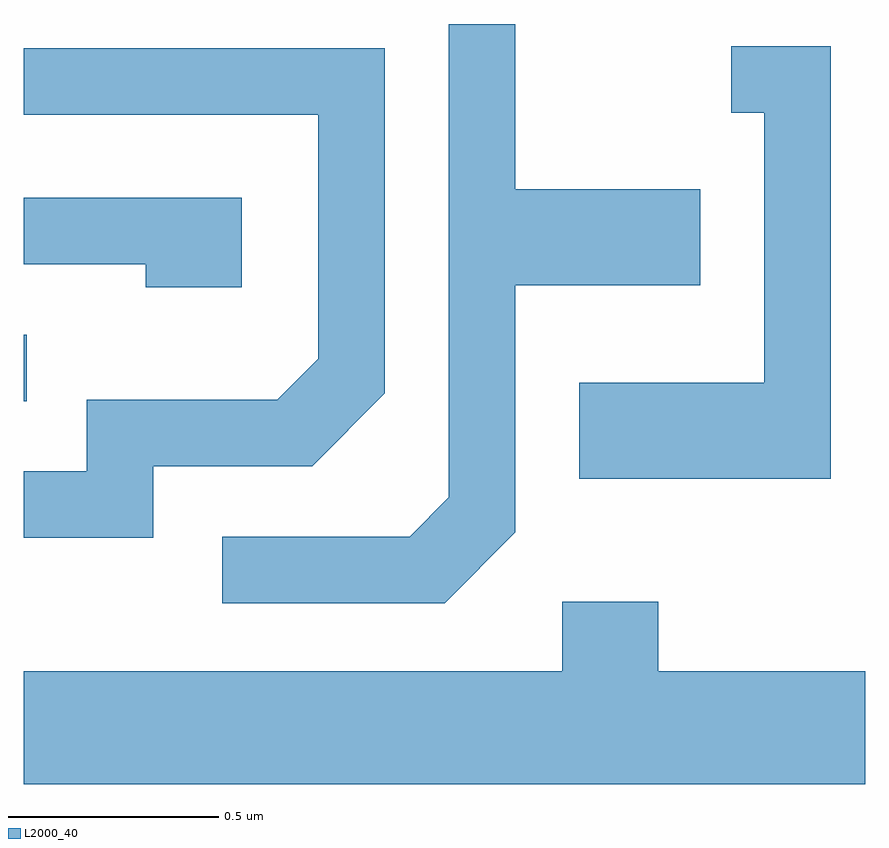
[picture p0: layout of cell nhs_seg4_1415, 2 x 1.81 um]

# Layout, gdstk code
import gdstk
lib = gdstk.Library(unit=1e-6, precision=1e-09)
def R(c, l, rs):  # rectangles x0, y0, x1, y1
    for r in rs: c.add(gdstk.rectangle(r[:2], r[2:], *l))
def P(c, l, *ps):  # polygons
    for p in ps: c.add(gdstk.Polygon(p, *l))
L2000_40 = (2000, 40)

nhs_seg4_1415 = lib.new_cell('nhs_seg4_1415')
R(nhs_seg4_1415, L2000_40, [(195.611,1300.086,195.618,1300.244)])
P(nhs_seg4_1415, L2000_40, [(196.779,1299.774),(196.779,1300.361),(197.219,1300.361),(197.219,1300.589),(196.779,1300.589),(196.779,1300.982),(196.621,1300.982),(196.621,1299.857),(196.529,1299.764),(196.083,1299.764),(196.083,1299.606),(196.612,1299.606)],
  [(197.529,1300.929),(197.293,1300.929),(197.293,1300.771),(197.371,1300.771),(197.371,1300.129),(196.931,1300.129),(196.931,1299.901),(197.529,1299.901)],
  [(195.919,1299.931),(196.297,1299.931),(196.469,1300.104),(196.469,1300.924),(195.611,1300.924),(195.611,1300.766),(196.311,1300.766),(196.311,1300.187),(196.214,1300.089),(195.761,1300.089),(195.761,1299.919),(195.611,1299.919),(195.611,1299.761),(195.919,1299.761)],
  [(196.129,1300.569),(195.611,1300.569),(195.611,1300.411),(195.901,1300.411),(195.901,1300.356),(196.129,1300.356)],
  [(197.611,1299.444),(197.119,1299.444),(197.119,1299.609),(196.891,1299.609),(196.891,1299.444),(195.611,1299.444),(195.611,1299.176),(197.611,1299.176)])

lib.write_gds('nhs_seg4_1415.gds')
